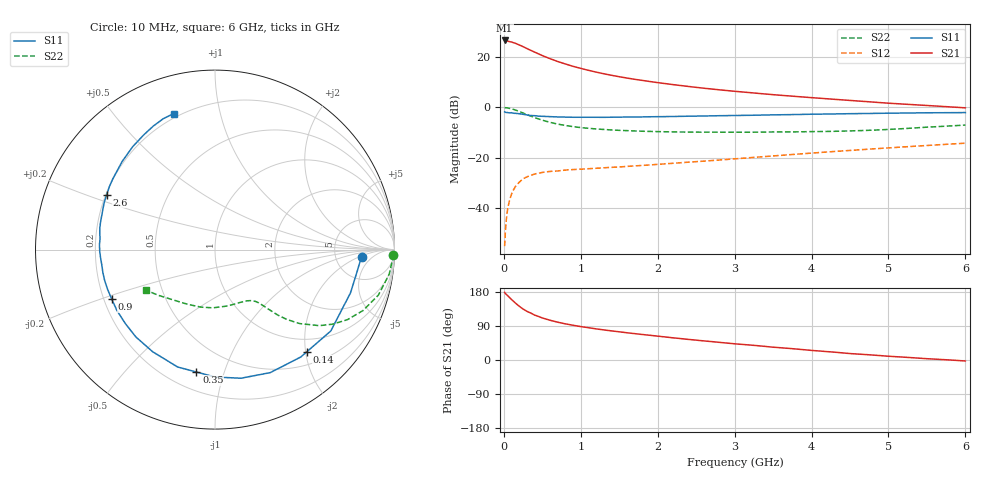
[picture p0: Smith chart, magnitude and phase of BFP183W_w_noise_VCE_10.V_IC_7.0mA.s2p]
! Infineon Technologies  Discrete & RF Semiconductors
! BFP183W
! VCE =  10. V,  IC =  7.0 mA
! Common Emitter S-Parameters:  Jan 2017
# GHz  S  MA  R  50
!  f  S11  S21  S12  S22
! GHz  MAG  ANG  MAG  ANG  MAG  ANG  MAG  ANG
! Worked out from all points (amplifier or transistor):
!   77 points, 10 MHz to 6 GHz, reference 50 ohm
!   highest |S21| = 26.8 dB at 10 MHz (marker M1)
!   |S21| within 3 dB of that: start of sweep to 284.6 MHz
!   unconditionally stable (mu >= 1): 1.979 GHz to 3.988 GHz
!   at 130 MHz: K = 0.10, MSG = 29.2 dB, |S12| = -32.7 dB
!   at 2.2 GHz: K = 1.04, MAG = 14.5 dB, |S12| = -22.3 dB
!   at 6 GHz: K = 0.82, MSG = 7.1 dB, |S12| = -14.3 dB
!   lowest NFmin = 0.82 dB at 450 MHz
!   S11 on the Smith chart (normalised r, x): 10 MHz: 9.39, -2.26; 140 MHz: 0.74, -2.02; 350 MHz: 0.31, -0.81; 900 MHz: 0.23, -0.22; 2.6 GHz: 0.20, +0.23; 6 GHz: 0.18, +0.73
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0.01  0.8172 -2.8  21.82 178.5  0.0017 89.2  0.9948 -1.6
0.03  0.7964 -11.5  21.4 173.6  0.0053 86.7  0.9863 -4.9
0.05  0.7926 -17.7  21.18 169.6  0.0095 80.2  0.9804 -8.0
0.1  0.7885 -35.1  20.33 159.5  0.0187 73.0  0.9448 -15.6
0.14  0.7653 -48.1  19.34 152.2  0.0248 67.3  0.9012 -21.0
0.2  0.7514 -65.8  17.77 141.9  0.0322 59.2  0.8345 -27.9
0.25  0.7311 -78.6  16.4 134.5  0.0377 54.0  0.7755 -32.4
0.3  0.71 -89.9  15.04 128.4  0.0412 49.1  0.7193 -36.1
0.35  0.6899 -98.6  13.85 123.9  0.044 45.7  0.6727 -38.4
0.4  0.6865 -107.6  12.77 118.5  0.047 42.8  0.6273 -41.1
0.5  0.6667 -121.4  10.89 111.0  0.0505 38.6  0.5578 -44.2
0.6  0.6567 -132.2  9.452 104.9  0.0529 36.3  0.5053 -46.2
0.7  0.6474 -140.7  8.291 99.8  0.054 35.4  0.4652 -47.4
0.9  0.6382 -154.3  6.636 91.6  0.0576 34.0  0.4146 -49.2
1.1  0.6385 -164.4  5.527 85.2  0.0599 34.6  0.3844 -50.6
1.5  0.6424 -179.2  4.119 74.4  0.0649 36.8  0.3498 -54.5
2.1  0.6579 164.1  2.999 60.8  0.075 41.2  0.3276 -63.2
2.6  0.6768 153.1  2.427 50.4  0.0849 44.3  0.3214 -73.0
3.1  0.6953 143.5  2.043 41.1  0.0968 46.4  0.3206 -83.4
4.1  0.7369 127.3  1.533 23.8  0.1259 47.3  0.3309 -106.5
5.1  0.7719 115.5  1.193 8.7  0.1595 45.0  0.3715 -132.2
6  0.7918 106.9  0.985 -2.6  0.1937 40.6  0.4457 -149.5
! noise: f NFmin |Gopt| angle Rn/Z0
0.45  0.82  0.16  68  0.11
0.9  0.91  0.21  112  0.1
1.9  1.45  0.39  172  0.07
2.4  1.71  0.45  -173  0.09
